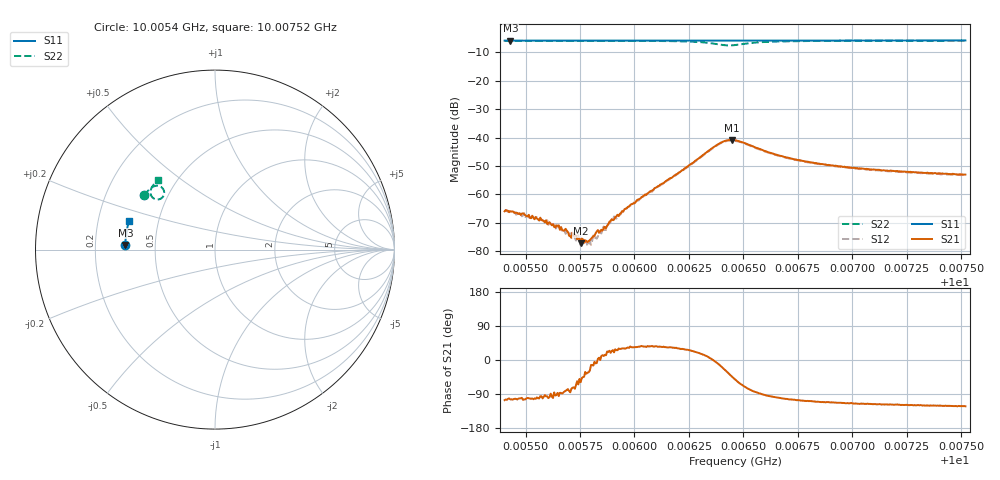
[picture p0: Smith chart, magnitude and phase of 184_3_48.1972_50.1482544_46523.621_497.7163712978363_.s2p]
#  HZ  S  RI  R  50.00
! Rohde & Schwarz Vector Network Analyzer
! Rohde-Schwarz,ZNB20-2Port,1311601062101988,3.16
! Created: UTC 3/20/2024, 11:44:16 AM
! freq[Hz]  re:S11  im:S11  re:S21  im:S21  re:S12  im:S12  re:S22  im:S22
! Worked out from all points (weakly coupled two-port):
!   401 points, 10.0054 GHz to 10.00752 GHz, reference 50 ohm
!   highest |S21| = -40.83 dB at 10.00645 GHz (marker M1); lowest = -77.2 dB at 10.00575 GHz (marker M2)
!   lowest |S11| = -6.0 dB at 10.00543 GHz (marker M3), VSWR 3.00, Z = 16.7 + j1.14 ohm
!   |S11| at or under -10 dB: nowhere
!   |S22| runs from -7.7 to -6.0 dB; largest |S21 - S12| = 0.00055
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1.0005404e10  -0.4998 0.0239  -0.000139 -0.000489  -9.48e-05 -0.000498  -0.3939 0.3018
1.000543e10  -0.4997 0.0256  -0.000122 -0.000491  -9.71e-05 -0.000498  -0.3928 0.3034
1.0005557e10  -0.4996 0.0338  -7.02e-05 -0.000361  -5.74e-05 -0.000377  -0.3872 0.3109
1.0005653e10  -0.4993 0.04  -2.62e-05 -0.000287  3.11e-06 -0.000267  -0.3827 0.3168
1.0005684e10  -0.499 0.0421  3.71e-05 -0.000248  4.56e-05 -0.000199  -0.3812 0.3187
1.00057e10  -0.4991 0.0432  2.57e-05 -0.000187  4.91e-05 -0.000205  -0.3804 0.3197
1.0005727e10  -0.499 0.0448  4.82e-05 -0.00019  6.73e-05 -0.000156  -0.3791 0.3214
1.0005753e10  -0.4989 0.0465  7.26e-05 -0.000118  6.53e-05 -0.000111  -0.3776 0.3231
1.0005758e10  -0.4989 0.0469  0.000115 -0.000128  0.000101 -0.000121  -0.3774 0.3232
1.0005795e10  -0.4987 0.0492  0.00014 -7.34e-05  0.000149 -2.61e-05  -0.3753 0.3257
1.0005822e10  -0.4986 0.0509  0.000206 -3.22e-05  0.000175 3.14e-05  -0.3739 0.3274
1.0005864e10  -0.4984 0.0538  0.000263 6.38e-05  0.000217 9.88e-05  -0.3714 0.3301
1.0005901e10  -0.4982 0.0562  0.000319 0.000155  0.000303 0.000179  -0.369 0.3325
1.0005975e10  -0.4976 0.061  0.000525 0.000328  0.000492 0.00036  -0.3638 0.3376
1.0006113e10  -0.4968 0.0699  0.00116 0.000816  0.00112 0.000853  -0.3509 0.3476
1.0006377e10  -0.494 0.087  0.00729 -0.000853  0.00717 -0.000453  -0.2854 0.3302
1.0006446e10  -0.4933 0.0906  0.00665 -0.00619  0.0068 -0.00571  -0.3007 0.2847
1.0006462e10  -0.4933 0.0916  0.00557 -0.007  0.00581 -0.00655  -0.3117 0.2799
1.0006652e10  -0.492 0.1036  -0.000748 -0.00493  -0.000535 -0.00486  -0.3596 0.323
1.0006816e10  -0.49 0.1142  -0.00119 -0.00342  -0.001 -0.0034  -0.3527 0.3456
1.000717e10  -0.4851 0.1365  -0.0012 -0.00231  -0.00107 -0.00232  -0.3336 0.3719
1.0007519e10  -0.4792 0.1584  -0.00119 -0.00189  -0.00107 -0.00188  -0.3156 0.3904
